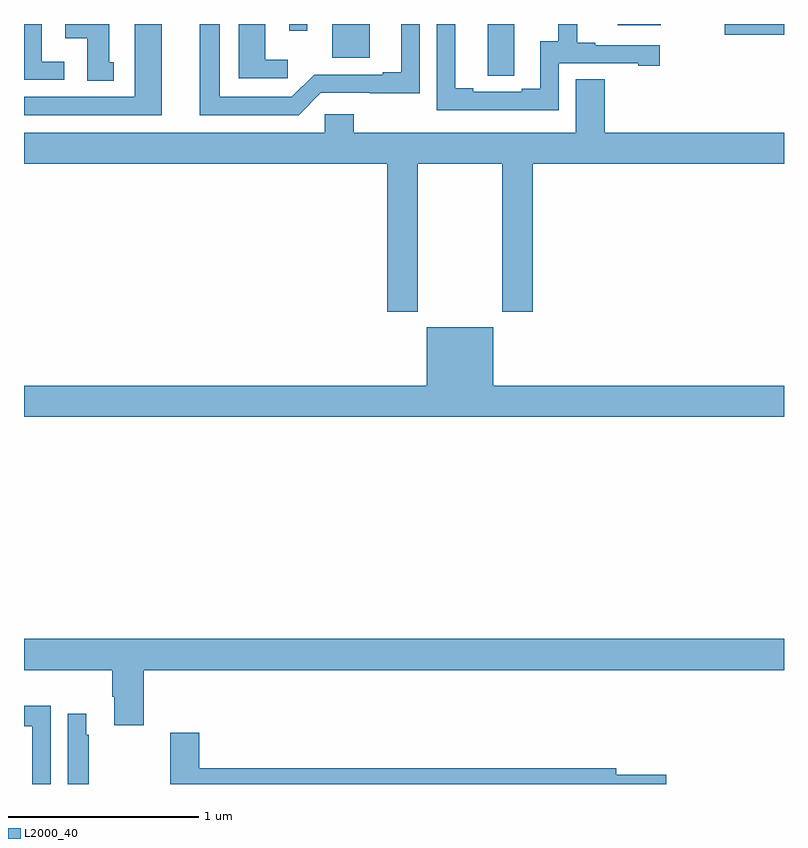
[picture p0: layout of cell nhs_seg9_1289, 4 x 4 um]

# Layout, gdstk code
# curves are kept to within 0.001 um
import gdstk
lib = gdstk.Library(unit=1e-6, precision=1e-09)
def R(c, l, rs):  # rectangles x0, y0, x1, y1
    for r in rs: c.add(gdstk.rectangle(r[:2], r[2:], *l))
def P(c, l, *ps):  # polygons
    for p in ps: c.add(gdstk.Polygon(p, *l))
L2000_40 = (2000, 40)

nhs_seg9_1289 = lib.new_cell('nhs_seg9_1289')
R(nhs_seg9_1289, L2000_40, [(184.622,1186.322,184.819,1186.5), (186.687,1186.444,187,1186.5), (184.395,1186.464,184.492,1186.5), (186.125,1186.493,186.352,1186.5)])
P(nhs_seg9_1289, L2000_40, [(183.724,1186.5),(183.584,1186.5),(183.584,1186.116),(183,1186.116),(183,1186.02),(183.724,1186.02)],
  [(183.472,1186.299),(183.448,1186.299),(183.448,1186.5),(183.218,1186.5),(183.218,1186.424),(183.332,1186.424),(183.332,1186.201),(183.472,1186.201)],
  [(184.387,1186.312),(184.27,1186.312),(184.27,1186.5),(184.13,1186.5),(184.13,1186.215),(184.387,1186.215)],
  [(183.211,1186.302),(183.094,1186.302),(183.094,1186.5),(183,1186.5),(183,1186.206),(183.211,1186.206)],
  [(185.58,1186.336),(185.581,1186.336),(185.581,1186.5),(185.441,1186.5),(185.441,1186.228),(185.58,1186.228)],
  [(185.814,1186.293),(186.233,1186.293),(186.233,1186.281),(186.346,1186.281),(186.346,1186.389),(186.007,1186.389),(186.007,1186.402),(185.912,1186.402),(185.912,1186.5),(185.812,1186.5),(185.812,1186.409),(185.717,1186.409),(185.717,1186.158),(185.621,1186.158),(185.621,1186.143),(185.365,1186.143),(185.365,1186.163),(185.269,1186.163),(185.269,1186.5),(185.172,1186.5),(185.172,1186.047),(185.814,1186.047)],
  [(184.563,1186.137),(185.082,1186.136),(185.082,1186.5),(184.985,1186.5),(184.985,1186.246),(184.889,1186.246),(184.889,1186.233),(184.527,1186.233),(184.41,1186.116),(184.03,1186.116),(184.03,1186.5),(183.926,1186.5),(183.926,1186.02),(184.446,1186.02)],
  [(185.073,1185.764),(185.518,1185.764),(185.518,1184.985),(185.678,1184.985),(185.678,1185.764),(187,1185.764),(187,1185.928),(186.056,1185.928),(186.056,1186.208),(185.903,1186.208),(185.903,1185.928),(184.736,1185.928),(184.736,1186.026),(184.584,1186.026),(184.584,1185.928),(183,1185.928),(183,1185.764),(184.913,1185.764),(184.913,1184.985),(185.073,1184.985)],
  [(187,1184.596),(185.47,1184.596),(185.47,1184.905),(185.12,1184.905),(185.12,1184.596),(183,1184.596),(183,1184.432),(187,1184.432)],
  [(183.629,1183.1),(187,1183.1),(187,1183.264),(183,1183.264),(183,1183.1),(183.464,1183.1),(183.464,1182.958),(183.476,1182.958),(183.476,1182.81),(183.629,1182.81)],
  [(183.141,1182.912),(183,1182.912),(183,1182.804),(183.044,1182.804),(183.044,1182.5),(183.141,1182.5)],
  [(183.34,1182.758),(183.328,1182.758),(183.328,1182.871),(183.231,1182.871),(183.231,1182.5),(183.34,1182.5)],
  [(186.379,1182.548),(186.118,1182.548),(186.118,1182.584),(183.923,1182.584),(183.923,1182.769),(183.769,1182.769),(183.769,1182.5),(186.379,1182.5)])

lib.write_gds('nhs_seg9_1289.gds')
